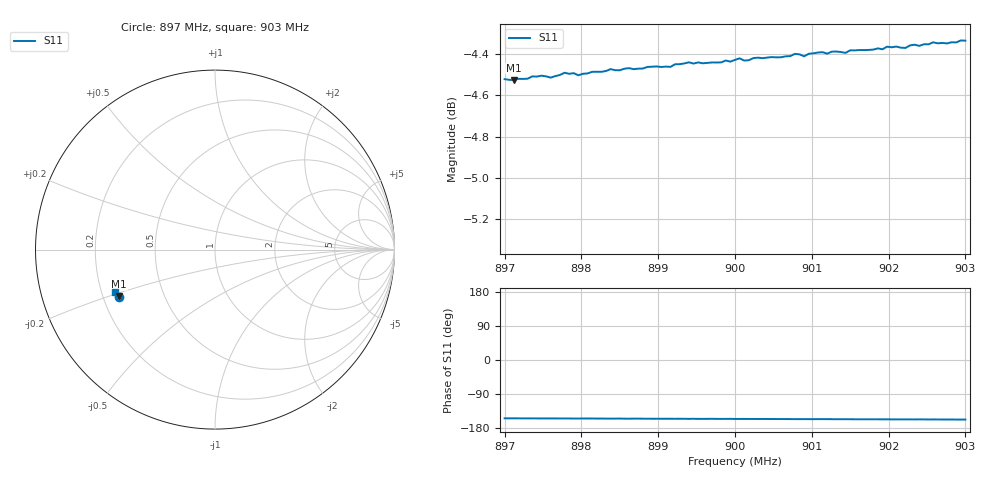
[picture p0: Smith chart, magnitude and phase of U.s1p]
#  HZ  S  RI  R  50.0
! Rohde & Schwarz ZVL
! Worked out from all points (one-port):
!   101 points, 897 MHz to 903 MHz, reference 50 ohm
!   lowest |S11| = -4.5 dB at 897.12 MHz (marker M1), VSWR 3.93, Z = 13.4 - j10.8 ohm
!   |S11| at or under -10 dB: nowhere
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8.97e8  -0.5335 -0.2617
8.9712e8  -0.5335 -0.261
8.9778e8  -0.5373 -0.2587
8.979e8  -0.5381 -0.2568
8.9826e8  -0.5385 -0.2569
8.9838e8  -0.5404 -0.255
8.985e8  -0.5392 -0.2567
8.9862e8  -0.5415 -0.2534
8.9874e8  -0.5404 -0.2554
8.9892e8  -0.5424 -0.2528
8.9928e8  -0.5432 -0.2531
8.9958e8  -0.545 -0.2497
8.997e8  -0.5443 -0.2519
8.9982e8  -0.5457 -0.249
8.9994e8  -0.5452 -0.2507
9e8  -0.547 -0.2483
9.0012e8  -0.5462 -0.2494
9.003e8  -0.5483 -0.2472
9.0036e8  -0.5476 -0.2482
9.0078e8  -0.5504 -0.2457
9.0114e8  -0.551 -0.2455
9.0132e8  -0.5525 -0.2427
9.015e8  -0.5529 -0.2429
9.0156e8  -0.5535 -0.2413
9.0228e8  -0.5564 -0.239
9.024e8  -0.5558 -0.2401
9.0252e8  -0.5575 -0.2374
9.03e8  -0.5595 -0.2357
